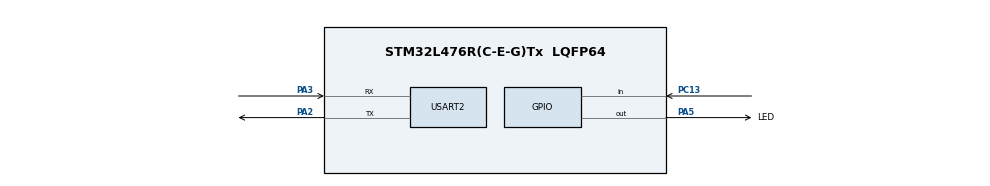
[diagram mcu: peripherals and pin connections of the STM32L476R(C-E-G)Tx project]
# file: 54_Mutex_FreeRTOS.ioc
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FREERTOS.Tasks01=defaultTask,0,128,StartDefaultTask,Default,NULL,Dynamic,NULL,NULL
Mcu.Family=STM32L4
Mcu.Name=STM32L476R(C-E-G)Tx
Mcu.Package=LQFP64
NVIC.PriorityGroup=NVIC_PRIORITYGROUP_4
NVIC.USART2_IRQn=true\:5\:0\:false\:false\:true\:true\:true\:true\:true
PA2.Mode=Asynchronous
PA2.Signal=USART2_TX
PA3.Mode=Asynchronous
PA3.Signal=USART2_RX
PA5.GPIO_Label=LED
PA5.PinState=GPIO_PIN_RESET
PA5.Signal=GPIO_Output
PC13.Signal=GPIO_Input
ProjectManager.HeapSize=0x200
ProjectManager.StackSize=0x400
ProjectManager.TargetToolchain=STM32CubeIDE
RCC.HSE_VALUE=8000000
RCC.HSI_VALUE=16000000
RCC.LSE_VALUE=32768
RCC.MSI_VALUE=4000000
RCC.VCOOutputFreq_Value=32000000
USART2.VirtualMode-Asynchronous=VM_ASYNC
VP_FREERTOS_VS_CMSIS_V1.Mode=CMSIS_V1
board=custom

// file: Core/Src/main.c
/* USER CODE BEGIN Header */
/**
  ******************************************************************************
  * @file           : main.c
  * @brief          : Main program body
  ******************************************************************************
  * @attention
  *
  * Copyright (c) 2026 STMicroelectronics.
  * All rights reserved.
  *
  * This software is licensed under terms that can be found in the LICENSE file
  * in the root directory of this software component.
  * If no LICENSE file comes with this software, it is provided AS-IS.
  *
  ******************************************************************************
  */
/* USER CODE END Header */
#include "main.h"
#include "cmsis_os.h"

/* USER CODE BEGIN Includes */
#include<stdio.h>
/* USER CODE END Includes */

/* USER CODE BEGIN PD */
#define NOT_PRESSED 0
#define PRESSED 1
/* USER CODE END PD */

UART_HandleTypeDef huart2;

osThreadId defaultTaskHandle;
/* USER CODE BEGIN PV */

TaskHandle_t xTaskHandle1 = NULL;
TaskHandle_t xTaskHandle2 = NULL;

SemaphoreHandle_t Mutex_Handle = NULL;

/* USER CODE END PV */

void SystemClock_Config(void);
static void MX_GPIO_Init(void);
static void MX_USART2_UART_Init(void);
void StartDefaultTask(void const * argument);

/* USER CODE BEGIN PFP */
void vTask1_Print(void *params);
void vTask2_Print(void *params);

/* USER CODE END PFP */

/* USER CODE BEGIN 0 */
void vTask1_Print(void *params)
{
    while(1)
    {
        if(xSemaphoreTake(Mutex_Handle,
                          portMAX_DELAY) == pdTRUE)
        {
            printf("Task1 Entered Critical Section\r\n");

            for(int i = 0; i < 5; i++)
            {
                HAL_GPIO_TogglePin(LED_GPIO_Port,
                                   LED_Pin);

                vTaskDelay(pdMS_TO_TICKS(200));
            }

            HAL_GPIO_WritePin(LED_GPIO_Port,
                              LED_Pin,
                              GPIO_PIN_RESET);

            printf("Task1 Leaving Critical Section\r\n");

            xSemaphoreGive(Mutex_Handle);
        }

        vTaskDelay(pdMS_TO_TICKS(1000));
    }
}

void vTask2_Print(void *params)
{
    while(1)
    {
        if(xSemaphoreTake(Mutex_Handle,
                          portMAX_DELAY) == pdTRUE)
        {
            printf("Task2 Entered Critical Section\r\n");

            for(int i = 0; i < 3; i++)
            {
                HAL_GPIO_TogglePin(LED_GPIO_Port,
                                   LED_Pin);

                vTaskDelay(pdMS_TO_TICKS(700));
            }

            HAL_GPIO_WritePin(LED_GPIO_Port,
                              LED_Pin,
                              GPIO_PIN_RESET);

            printf("Task2 Leaving Critical Section\r\n");

            xSemaphoreGive(Mutex_Handle);
        }

        vTaskDelay(pdMS_TO_TICKS(1000));
    }
}

/* USER CODE END 0 */

int main(void)
{

  /* MCU Configuration--------------------------------------------------------*/

  /* Reset of all peripherals, Initializes the Flash interface and the Systick. */
  HAL_Init();

  /* Configure the system clock */
  SystemClock_Config();

  /* Initialize all configured peripherals */
  MX_GPIO_Init();
  MX_USART2_UART_Init();
  /* USER CODE BEGIN 2 */
  printf("Testing the SVW...\n");

  /* USER CODE END 2 */

  /* USER CODE BEGIN RTOS_QUEUES */
  /* add queues, ... */

  //create counting semaphore
  Mutex_Handle = xSemaphoreCreateMutex();

  if(Mutex_Handle != NULL)
  {
	  /* USER CODE BEGIN RTOS_THREADS */
	  /* add threads, ... */
	  printf("Mutex created\r\n");
	  //create menu task

	  xTaskCreate(vTask1_Print,
	              "Task1",
	              200,
	              NULL,
	              1,
	              &xTaskHandle1);

	  xTaskCreate(vTask2_Print,
	              "Task2",
	              200,
	              NULL,
	              1,
	              &xTaskHandle2);

	  //HAL_UART_Receive_IT(&huart2, &rdata, 1)

	  /* USER CODE END RTOS_THREADS */

	  /* Create the thread(s) */
	  /* definition and creation of defaultTask */
	  osThreadDef(defaultTask, StartDefaultTask, osPriorityNormal, 0, 128);
	  defaultTaskHandle = osThreadCreate(osThread(defaultTask), NULL);

	  /* USER CODE BEGIN RTOS_THREADS */
	  /* add threads, ... */

	  /* USER CODE END RTOS_THREADS */

	  /* Start scheduler */
	  osKernelStart();

  }
  else
  {
	  printf("CountingSem creation failed\r\n");
  }

  /* USER CODE END RTOS_QUEUES */

  /* We should never get here as control is now taken by the scheduler */

  /* Infinite loop */
  while (1)
  {

  }
}

void SystemClock_Config(void)
{
  RCC_OscInitTypeDef RCC_OscInitStruct = {0};
  RCC_ClkInitTypeDef RCC_ClkInitStruct = {0};

  /** Configure the main internal regulator output voltage
  */
  if (HAL_PWREx_ControlVoltageScaling(PWR_REGULATOR_VOLTAGE_SCALE1) != HAL_OK)
  {
    Error_Handler();
  }

  /** Initializes the RCC Oscillators according to the specified parameters
  * in the RCC_OscInitTypeDef structure.
  */
  RCC_OscInitStruct.OscillatorType = RCC_OSCILLATORTYPE_MSI;
  RCC_OscInitStruct.MSIState = RCC_MSI_ON;
  RCC_OscInitStruct.MSICalibrationValue = 0;
  RCC_OscInitStruct.MSIClockRange = RCC_MSIRANGE_6;
  RCC_OscInitStruct.PLL.PLLState = RCC_PLL_NONE;
  if (HAL_RCC_OscConfig(&RCC_OscInitStruct) != HAL_OK)
  {
    Error_Handler();
  }

  /** Initializes the CPU, AHB and APB buses clocks
  */
  RCC_ClkInitStruct.ClockType = RCC_CLOCKTYPE_HCLK|RCC_CLOCKTYPE_SYSCLK
                              |RCC_CLOCKTYPE_PCLK1|RCC_CLOCKTYPE_PCLK2;
  RCC_ClkInitStruct.SYSCLKSource = RCC_SYSCLKSOURCE_MSI;
  RCC_ClkInitStruct.AHBCLKDivider = RCC_SYSCLK_DIV1;
  RCC_ClkInitStruct.APB1CLKDivider = RCC_HCLK_DIV1;
  RCC_ClkInitStruct.APB2CLKDivider = RCC_HCLK_DIV1;

  if (HAL_RCC_ClockConfig(&RCC_ClkInitStruct, FLASH_LATENCY_0) != HAL_OK)
  {
    Error_Handler();
  }
}

static void MX_USART2_UART_Init(void)
{

  huart2.Instance = USART2;
  huart2.Init.BaudRate = 115200;
  huart2.Init.WordLength = UART_WORDLENGTH_8B;
  huart2.Init.StopBits = UART_STOPBITS_1;
  huart2.Init.Parity = UART_PARITY_NONE;
  huart2.Init.Mode = UART_MODE_TX_RX;
  huart2.Init.HwFlowCtl = UART_HWCONTROL_NONE;
  huart2.Init.OverSampling = UART_OVERSAMPLING_16;
  huart2.Init.OneBitSampling = UART_ONE_BIT_SAMPLE_DISABLE;
  huart2.AdvancedInit.AdvFeatureInit = UART_ADVFEATURE_NO_INIT;
  if (HAL_UART_Init(&huart2) != HAL_OK)
  {
    Error_Handler();
  }

}

static void MX_GPIO_Init(void)
{
  GPIO_InitTypeDef GPIO_InitStruct = {0};

  /* GPIO Ports Clock Enable */
  __HAL_RCC_GPIOC_CLK_ENABLE();
  __HAL_RCC_GPIOA_CLK_ENABLE();

  /*Configure GPIO pin Output Level */
  HAL_GPIO_WritePin(LED_GPIO_Port, LED_Pin, GPIO_PIN_RESET);

  /*Configure GPIO pin : PC13 */
  GPIO_InitStruct.Pin = GPIO_PIN_13;
  GPIO_InitStruct.Mode = GPIO_MODE_INPUT;
  GPIO_InitStruct.Pull = GPIO_NOPULL;
  HAL_GPIO_Init(GPIOC, &GPIO_InitStruct);

  /*Configure GPIO pin : LED_Pin */
  GPIO_InitStruct.Pin = LED_Pin;
  GPIO_InitStruct.Mode = GPIO_MODE_OUTPUT_PP;
  GPIO_InitStruct.Pull = GPIO_NOPULL;
  GPIO_InitStruct.Speed = GPIO_SPEED_FREQ_LOW;
  HAL_GPIO_Init(LED_GPIO_Port, &GPIO_InitStruct);

}

void StartDefaultTask(void const * argument)
{
  for(;;)
  {
    osDelay(1);
  }
}

void Error_Handler(void)
{
  __disable_irq();
  while (1)
  {
  }
}
